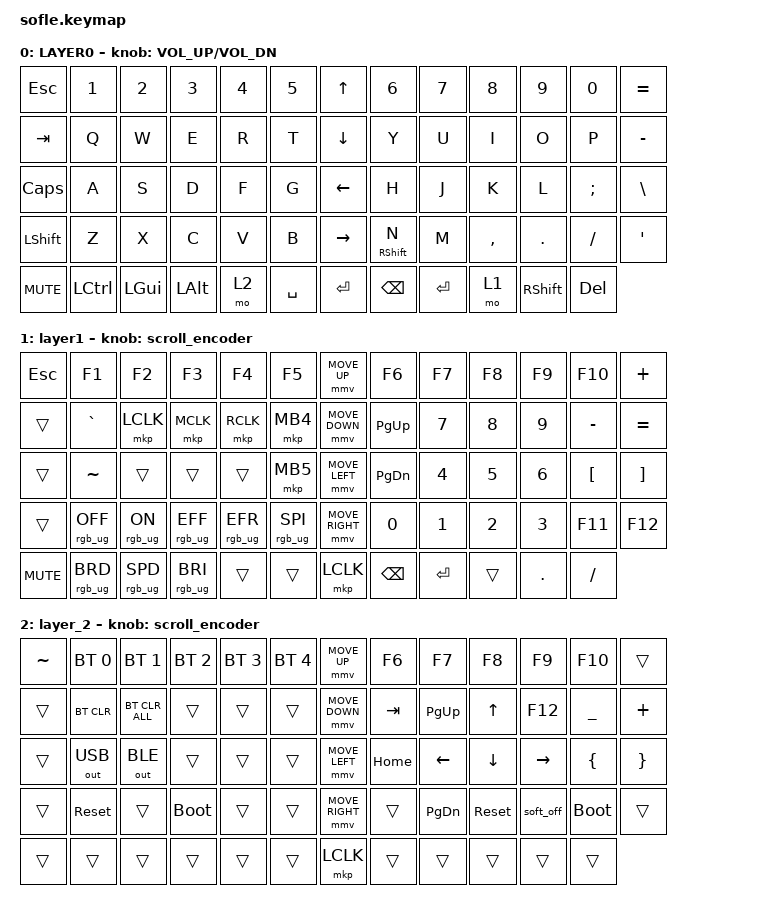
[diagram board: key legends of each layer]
#include <behaviors/mouse_keys.dtsi>
#include <behaviors.dtsi>
#include <dt-bindings/zmk/bt.h>
#include <dt-bindings/zmk/keys.h>
#include <dt-bindings/zmk/mouse.h>
#include <dt-bindings/zmk/outputs.h>
#include <dt-bindings/zmk/rgb.h>

#define ZMK_MOUSE_DEFAULT_MOVE_VAL 1200  // 600
#define ZMK_MOUSE_DEFAULT_SCRL_VAL 20    // 10
#define U_MS_U &mmv MOVE_UP
#define U_MS_D &mmv MOVE_DOWN
#define U_MS_L &mmv MOVE_LEFT
#define U_MS_R &mmv MOVE_RIGHT
#define ZMK_MOUSE_DEFAULT_MOVE_VAL 1200  //  600
#define ZMK_MOUSE_DEFAULT_SCRL_VAL 20    // 10

/ {
    behaviors {
        mmv {
            acceleration-exponent = <1>;      // 1
            time-to-max-speed-ms = <900>;    // 40
            delay-ms = <0>;                   // 0
        };

        msc {
            acceleration-exponent = <1>;      // 0
            time-to-max-speed-ms = <400>;      // 500
            delay-ms = <0>;                   //   10
        };
    };

    scroll_encoder: scroll_encoder {
        compatible = "zmk,behavior-sensor-rotate";
        #sensor-binding-cells = <0>;
        bindings = <&msc SCRL_DOWN>, <&msc SCRL_UP>;

        tap-ms = <30>;
    };

    keymap {
        compatible = "zmk,keymap";

        layer0 {
            bindings = <
&kp ESC     &kp N1     &kp N2        &kp N3        &kp N4  &kp N5       &kp UP_ARROW     &kp N6             &kp N7     &kp N8     &kp N9           &kp N0      &kp EQUAL
&kp TAB     &kp Q      &kp W         &kp E         &kp R   &kp T        &kp DOWN_ARROW   &kp Y              &kp U      &kp I      &kp O            &kp P       &kp MINUS
&kp CAPS    &kp A      &kp S         &kp D         &kp F   &kp G        &kp LEFT_ARROW   &kp H              &kp J      &kp K      &kp L            &kp SEMI    &kp BACKSLASH
&kp LSHFT   &kp Z      &kp X         &kp C         &kp V   &kp B        &kp RIGHT_ARROW  &mt RIGHT_SHIFT N  &kp M      &kp COMMA  &kp DOT          &kp FSLH    &kp APOSTROPHE
&kp C_MUTE  &kp LCTRL  &kp LEFT_GUI  &kp LEFT_ALT  &mo 2   &kp SPACE    &kp ENTER        &kp BACKSPACE      &kp ENTER  &mo 1      &kp RIGHT_SHIFT  &kp DELETE
            >;

            sensor-bindings = <&inc_dec_kp C_VOLUME_UP C_VOL_DN>;
            display-name = "LAYER0";
        };

        layer_1 {
            bindings = <
&kp ESC     &kp F1           &kp F2           &kp F3           &kp F4           &kp F5             &mmv MOVE_UP     &kp F6         &kp F7        &kp F8        &kp F9        &kp F10           &kp PLUS
&trans      &kp GRAVE        &mkp LCLK        &mkp MCLK        &mkp RCLK        &mkp MB4           &mmv MOVE_DOWN   &kp PG_UP      &kp NUMBER_7  &kp NUMBER_8  &kp NUMBER_9  &kp MINUS         &kp EQUAL
&trans      &kp TILDE        &trans           &trans           &trans           &mkp MB5           &mmv MOVE_LEFT   &kp PG_DN      &kp NUMBER_4  &kp NUMBER_5  &kp NUMBER_6  &kp LEFT_BRACKET  &kp RIGHT_BRACKET
&trans      &rgb_ug RGB_OFF  &rgb_ug RGB_ON   &rgb_ug RGB_EFF  &rgb_ug RGB_EFR  &rgb_ug RGB_SPI    &mmv MOVE_RIGHT  &kp NUMBER_0   &kp NUMBER_1  &kp NUMBER_2  &kp NUMBER_3  &kp F11           &kp F12
&kp C_MUTE  &rgb_ug RGB_BRD  &rgb_ug RGB_SPD  &rgb_ug RGB_BRI  &trans           &trans             &mkp LCLK        &kp BACKSPACE  &kp ENTER     &trans        &kp DOT       &kp SLASH
            >;

            display-name = "layer1";
            sensor-bindings = <&scroll_encoder>;
        };

        layer_2 {
            bindings = <
&kp TILDE  &bt BT_SEL 0  &bt BT_SEL 1    &bt BT_SEL 2  &bt BT_SEL 3  &bt BT_SEL 4    &mmv MOVE_UP     &kp F6    &kp F7         &kp F8      &kp F9           &kp F10      &trans
&trans     &bt BT_CLR    &bt BT_CLR_ALL  &trans        &trans        &trans          &mmv MOVE_DOWN   &kp TAB   &kp PAGE_UP    &kp UP      &kp F12          &kp UNDER    &kp PLUS
&trans     &out OUT_USB  &out OUT_BLE    &trans        &trans        &trans          &mmv MOVE_LEFT   &kp HOME  &kp LEFT       &kp DOWN    &kp RIGHT_ARROW  &kp LBRC     &kp RBRC
&trans     &sys_reset    &trans          &bootloader   &trans        &trans          &mmv MOVE_RIGHT  &trans    &kp PAGE_DOWN  &sys_reset  &soft_off        &bootloader  &trans
&trans     &trans        &trans          &trans        &trans        &trans          &mkp LCLK        &trans    &trans         &trans      &trans           &trans
            >;

            sensor-bindings = <&scroll_encoder>;
        };
    };
};
